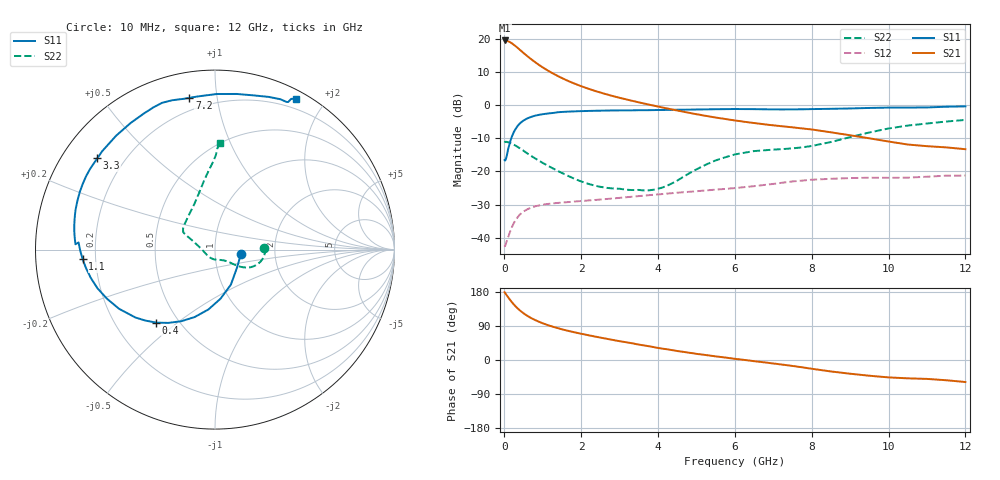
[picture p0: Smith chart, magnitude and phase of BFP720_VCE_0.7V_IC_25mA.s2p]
! Infineon Technologies  Discrete & RF Semiconductors
! BFP720
! VCE =  0.7 V,  IC =  25 mA
! Common Emitter S-Parameters:  Aug 2012
# GHz  S  MA  R  50
!  f  S11  S21  S12  S22
! GHz  MAG  ANG  MAG  ANG  MAG  ANG  MAG  ANG
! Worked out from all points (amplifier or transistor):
!   105 points, 10 MHz to 12 GHz, reference 50 ohm
!   highest |S21| = 19.4 dB at 20 MHz (marker M1)
!   |S21| within 3 dB of that: start of sweep to 425.9 MHz
!   unconditionally stable (mu >= 1): start of sweep to end of sweep
!   at 300 MHz: K = 2.65, MAG = 19.0 dB, |S12| = -34.6 dB
!   at 3.6 GHz: K = 3.31, MAG = 5.8 dB, |S12| = -27.3 dB
!   at 12 GHz: K = 2.01, MAG = -1.8 dB, |S12| = -21.2 dB
!   S11 on the Smith chart (normalised r, x): 10 MHz: 1.34, -0.07; 400 MHz: 0.38, -0.42; 1.1 GHz: 0.15, -0.03; 3.3 GHz: 0.10, +0.34; 7.2 GHz: 0.13, +0.84; 12 GHz: 0.09, +1.67
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0.01  0.1483 -9.3  9.32 178.9  0.0077 9.9  0.2719 1.4
0.02  0.1457 -17.0  9.353 177.2  0.0075 9.3  0.2786 -1.0
0.1  0.2143 -65.6  9.097 165.8  0.0101 30.6  0.2751 -7.8
0.15  0.2755 -83.6  8.821 158.9  0.0123 37.0  0.2697 -11.5
0.2  0.3356 -96.3  8.462 152.5  0.0145 40.3  0.2621 -14.9
0.25  0.3921 -106.7  8.055 146.5  0.0167 41.1  0.2532 -18.1
0.3  0.4403 -115.1  7.637 141.1  0.0187 40.4  0.2434 -21.0
0.4  0.522 -128.8  6.814 131.5  0.0222 38.3  0.224 -25.8
0.5  0.5827 -139.5  6.079 123.5  0.0249 35.6  0.2051 -29.2
0.6  0.628 -148.3  5.437 116.6  0.0269 33.1  0.1869 -31.9
0.7  0.6614 -155.6  4.891 110.7  0.0285 30.7  0.1712 -34.0
0.9  0.7099 -167.2  4.025 101.1  0.0307 27.2  0.1455 -36.7
1.1  0.7394 -175.9  3.391 93.3  0.0322 24.7  0.1249 -38.9
1.5  0.7848 175.0  2.543 81.1  0.034 22.3  0.0948 -44.1
2.1  0.8105 162.1  1.832 67.3  0.0362 21.5  0.0676 -59.4
3.3  0.8299 142.2  1.166 44.6  0.0415 21.7  0.0525 -110.0
4.1  0.8408 129.4  0.921 30.3  0.0456 21.2  0.0568 -157.3
6.1  0.8683 109.1  0.575 2.0  0.0569 18.1  0.1844 153.1
7.2  0.8574 99.6  0.48 -11.7  0.0672 14.8  0.2162 143.6
8.5  0.8755 82.1  0.388 -30.2  0.0774 3.9  0.2769 114.8
10.5  0.9143 64.1  0.254 -48.4  0.0806 -8.8  0.4898 91.2
12  0.9526 61.7  0.216 -58.1  0.0866 -17.8  0.596 87.2
